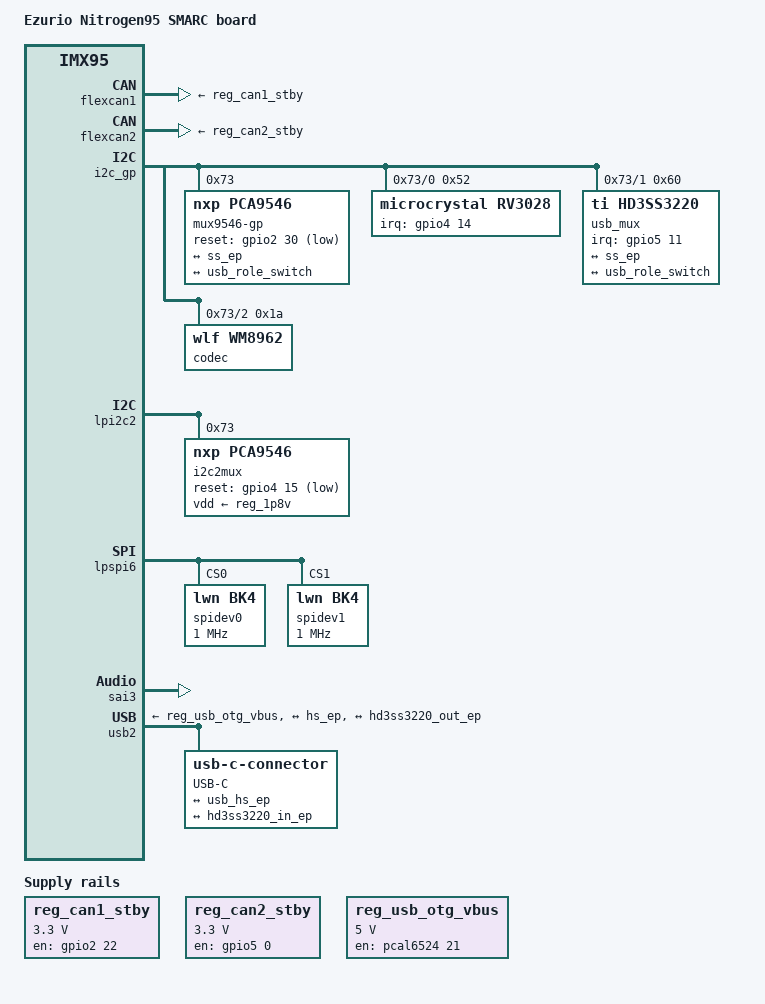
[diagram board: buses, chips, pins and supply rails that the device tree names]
// SPDX-License-Identifier: (GPL-2.0+ OR MIT)
/*
 * Copyright 2024 Ezurio LLC
 */

/dts-v1/;

#include "imx95-nitrogen-smarc.dtsi"

/ {
	model = "Ezurio Nitrogen95 SMARC board";
	compatible = "ezurio,imx95-nitrogen-smarc", "fsl,imx95";

	aliases {
		can0 = &flexcan1;
		can1 = &flexcan2;
		eth0 = &enetc_port0;
		eth1 = &enetc_port1;
		rtc0 = &rv3028;
		rtc1 = &scmi_bbm;
	};

	reg_can1_stby: regulator-can1-stby {
		compatible = "regulator-fixed";
		regulator-name = "can1-stby";
		regulator-min-microvolt = <3300000>;
		regulator-max-microvolt = <3300000>;
		gpio = <&gpio2 22 GPIO_ACTIVE_HIGH>;
		enable-active-high;
	};

	reg_can2_stby: regulator-can2-stby {
		compatible = "regulator-fixed";
		regulator-name = "can2-stby";
		regulator-min-microvolt = <3300000>;
		regulator-max-microvolt = <3300000>;
		gpio = <&gpio5 0 GPIO_ACTIVE_HIGH>;
		enable-active-high;
	};

	reg_usb_otg_vbus: regulator-usb-otg-vbus {
		compatible = "regulator-fixed";
		regulator-name = "usb_otg_vbus";
		regulator-min-microvolt = <5000000>;
		regulator-max-microvolt = <5000000>;
		gpio = <&pcal6524 21 GPIO_ACTIVE_HIGH>;
		enable-active-high;
	};

	sound-wm8962 {
		compatible = "fsl,imx-audio-wm8962";
		model = "wm8962-audio";
		audio-cpu = <&sai3>;
		audio-codec = <&codec>;
		audio-routing =
			"Headphone Jack", "HPOUTL",
			"Headphone Jack", "HPOUTR",
			"Ext Spk", "SPKOUTL",
			"Ext Spk", "SPKOUTR",
			"AMIC", "MICBIAS",
			"IN3R", "AMIC",
			"IN1R", "AMIC";
		codec-master;
	};
};

&flexcan1 {
	xceiver-supply = <&reg_can1_stby>;
	status = "okay";
};

&flexcan2 {
	xceiver-supply = <&reg_can2_stby>;
	status = "okay";
};

&i2c_gp {
	mux9546-gp@73 {
		compatible = "nxp,pca9546";
		reg = <0x73>;
		reset-gpios = <&gpio2 30 GPIO_ACTIVE_LOW>;
		#address-cells = <1>;
		#size-cells = <0>;

		i2c_gp_a: i2c2@0 {
			clock-frequency = <100000>;
			reg = <0>;
			#address-cells = <1>;
			#size-cells = <0>;
		};

		i2c_gp_b: i2c2@1 {
			clock-frequency = <100000>;
			reg = <1>;
			#address-cells = <1>;
			#size-cells = <0>;
		};

		i2c_gp_c: i2c2@2 {
			clock-frequency = <100000>;
			reg = <2>;
			#address-cells = <1>;
			#size-cells = <0>;
		};

		i2c_gp_d: i2c2@3 {
			clock-frequency = <100000>;
			reg = <3>;
			#address-cells = <1>;
			#size-cells = <0>;
		};
	};
};

&i2c_gp_a {
	rv3028: rtc@52 {
		backup-switchover-dsm;
		#clock-cells = <0>;
		compatible = "microcrystal,rv3028";
		reg = <0x52>;
		interrupts-extended = <&gpio4 14 IRQ_TYPE_LEVEL_LOW>;
		wakeup-source;
	};
};

&i2c_gp_b {
	usb_mux: hd3ss3220@60 {
		compatible = "ti,hd3ss3220";
		interrupts-extended = <&gpio5 11 IRQ_TYPE_LEVEL_LOW>;
		reg = <0x60>;

		ports {
			#address-cells = <1>;
			#size-cells = <0>;

			port@0 {
				reg = <0>;
				hd3ss3220_in_ep: endpoint {
					remote-endpoint = <&ss_ep>;
				};
			};

			port@1 {
				reg = <1>;
				hd3ss3220_out_ep: endpoint {
					remote-endpoint = <&usb_role_switch>;
				};
			};
		};
	};
};

&i2c_gp_c {
	codec: wm8962@1a {
		#sound-dai-cells = <0>;
		compatible = "wlf,wm8962";
		clocks = <&scmi_clk IMX95_CLK_SAI3>;
		reg = <0x1a>;
		gpio-cfg = <
			0x0000 /* n/c */
			0x0000 /* gpio2: */
			0x0000 /* gpio3: */
			0x0000 /* n/c */
			0x8081 /* gpio5:HP detect */
			0x8095 /* gpio6:Mic detect */
		>;
		gpio-line-names = "N/C", "GPIO2",
			"GPIO3", "N/C",
			"GPIO5:HP detect",
			"GPIO6:Mic detect";
	};
};

/* SMARC I2C_LCD */
&lpi2c2 {
	i2c2mux@73 {
		pinctrl-names = "default";
		compatible = "nxp,pca9546";
		reg = <0x73>;
		vdd-supply = <&reg_1p8v>;
		reset-gpios = <&gpio4 15 GPIO_ACTIVE_LOW>;
		#address-cells = <1>;
		#size-cells = <0>;

		i2c_lcd_exp1: i2c2mux@0 {
			clock-frequency = <100000>;
			reg = <0>;
			#address-cells = <1>;
			#size-cells = <0>;
		};

		i2c_lcd_exp2: i2c2mux@1 {
			clock-frequency = <100000>;
			reg = <1>;
			#address-cells = <1>;
			#size-cells = <0>;
		};

		i2c_lcd_dsi0: i2c2mux@2 {
			clock-frequency = <100000>;
			reg = <2>;
			#address-cells = <1>;
			#size-cells = <0>;
		};

		i2c_lcd_dsi1: i2c2mux@3 {
			clock-frequency = <100000>;
			reg = <3>;
			#address-cells = <1>;
			#size-cells = <0>;
		};
	};
};

&lpspi6 {
	status = "okay";

	spidev0: spi@0 {
		reg = <0>;
		compatible = "lwn,bk4";
		spi-max-frequency = <1000000>;
	};

	spidev1: spi@1 {
		reg = <1>;
		compatible = "lwn,bk4";
		spi-max-frequency = <1000000>;
	};
};

&sai3 {
	#sound-dai-cells = <0>;
	pinctrl-names = "default";
	pinctrl-0 = <&pinctrl_sai3>;
	assigned-clocks = <&scmi_clk IMX95_CLK_SAI3>;
	assigned-clock-parents = <&scmi_clk IMX95_CLK_AUDIOPLL1>;
	assigned-clock-rates = <24000000>;
	fsl,sai-mclk-direction-output;
	status = "okay";
};

&usb2 {
	vbus-supply = <&reg_usb_otg_vbus>;

	ports {
		#address-cells = <1>;
		#size-cells = <0>;

		port@0 {
			reg = <0>;
			usb_hs_ep: endpoint {
				remote-endpoint = <&hs_ep>;
			};
		};

		port@1 {
			reg = <1>;
			usb_role_switch: endpoint {
				remote-endpoint = <&hd3ss3220_out_ep>;
			};
		};
	};

	connector {
		compatible = "usb-c-connector";
		label = "USB-C";
		data-role = "dual";

		ports {
			#address-cells = <1>;
			#size-cells = <0>;

			port@0 {
				reg = <0>;
				hs_ep: endpoint {
					remote-endpoint = <&usb_hs_ep>;
				};
			};

			port@1 {
				reg = <1>;
				ss_ep: endpoint {
					remote-endpoint = <&hd3ss3220_in_ep>;
				};
			};
		};
	};
};
